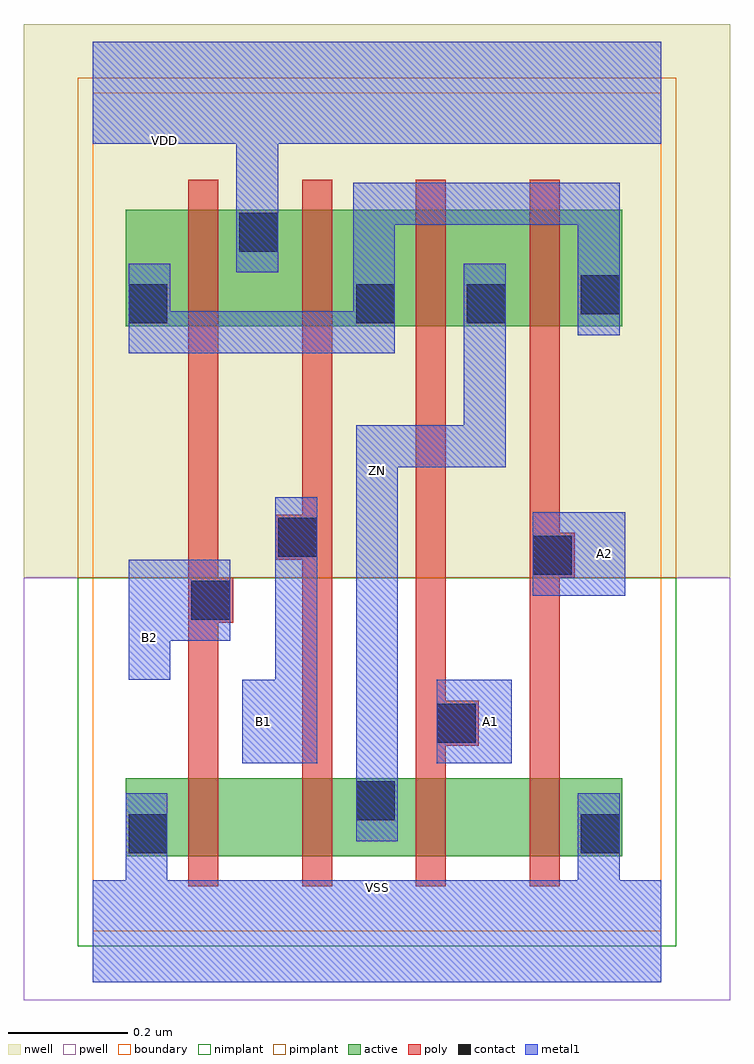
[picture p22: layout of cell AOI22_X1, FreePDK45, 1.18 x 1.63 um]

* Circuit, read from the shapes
.subckt AOI22_X1 A1 A2 B1 B2 VDD VSS ZN
M1 n1 B2 VSS VSUBS nfet w=0.13u l=0.05u
M2 ZN B1 n1 VSUBS nfet w=0.13u l=0.05u
M3 n2 A1 ZN VSUBS nfet w=0.13u l=0.05u
M4 VSS A2 n2 VSUBS nfet w=0.13u l=0.05u
M5 VDD B2 n3 n4 pfet w=0.195u l=0.05u
M6 n3 B1 VDD n4 pfet w=0.195u l=0.05u
M7 ZN A1 n3 n4 pfet w=0.195u l=0.05u
M8 n3 A2 ZN n4 pfet w=0.195u l=0.05u
.ends

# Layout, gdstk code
import gdstk
lib = gdstk.Library(unit=1e-6, precision=1e-10)
def R(c, l, rs):  # rectangles x0, y0, x1, y1
    for r in rs: c.add(gdstk.rectangle(r[:2], r[2:], *l))
def P(c, l, *ps):  # polygons
    for p in ps: c.add(gdstk.Polygon(p, *l))
active = (1, 0)
pwell = (2, 0)
nwell = (3, 0)
nimplant = (4, 0)
pimplant = (5, 0)
poly = (9, 0)
contact = (10, 0)
metal1 = (11, 0)
boundary = (235, 0)

aoi22_x1 = lib.new_cell('AOI22_X1')
R(aoi22_x1, active, [(0.055,0.125,0.885,0.255), (0.055,1.01,0.885,1.205)])
R(aoi22_x1, pwell, [(-0.115,-0.115,1.065,0.59)])
R(aoi22_x1, nwell, [(-0.115,0.59,1.065,1.515)])
R(aoi22_x1, nimplant, [(-0.025,-0.025,0.975,0.59)])
R(aoi22_x1, pimplant, [(-0.025,0.59,0.975,1.425)])
P(aoi22_x1, poly, [(0.16,0.075),(0.21,0.075),(0.21,0.515),(0.235,0.515),(0.235,0.59),(0.21,0.59),(0.21,1.255),(0.16,1.255)],
  [(0.305,0.62),(0.35,0.62),(0.35,0.075),(0.4,0.075),(0.4,1.255),(0.35,1.255),(0.35,0.695),(0.305,0.695)],
  [(0.54,0.075),(0.59,0.075),(0.59,0.31),(0.645,0.31),(0.645,0.385),(0.59,0.385),(0.59,1.255),(0.54,1.255)],
  [(0.73,0.075),(0.78,0.075),(0.78,0.59),(0.805,0.59),(0.805,0.665),(0.78,0.665),(0.78,1.255),(0.73,1.255)])
R(aoi22_x1, contact, [(0.06,0.13,0.125,0.195), (0.815,0.13,0.88,0.195), (0.44,0.185,0.505,0.25), (0.575,0.315,0.64,0.38), (0.165,0.52,0.23,0.585), (0.735,0.595,0.8,0.66), (0.31,0.625,0.375,0.69), (0.06,1.015,0.125,1.08), (0.44,1.015,0.505,1.08), (0.625,1.015,0.69,1.08), (0.815,1.03,0.88,1.095), (0.245,1.135,0.31,1.2)])
R(aoi22_x1, metal1, [(0.575,0.28,0.7,0.42), (0.735,0.56,0.89,0.7)])
P(aoi22_x1, metal1, [(0.06,0.42),(0.13,0.42),(0.13,0.485),(0.23,0.485),(0.23,0.62),(0.06,0.62)],
  [(0.25,0.28),(0.375,0.28),(0.375,0.725),(0.305,0.725),(0.305,0.42),(0.25,0.42)],
  [(0.44,0.15),(0.51,0.15),(0.51,0.775),(0.69,0.775),(0.69,1.115),(0.62,1.115),(0.62,0.845),(0.44,0.845)],
  [(0.06,0.965),(0.505,0.965),(0.505,1.18),(0.81,1.18),(0.81,0.995),(0.88,0.995),(0.88,1.25),(0.435,1.25),(0.435,1.035),(0.13,1.035),(0.13,1.115),(0.06,1.115)],
  [(0,-0.085),(0.95,-0.085),(0.95,0.085),(0.88,0.085),(0.88,0.23),(0.81,0.23),(0.81,0.085),(0.125,0.085),(0.125,0.23),(0.055,0.23),(0.055,0.085),(0,0.085)],
  [(0,1.315),(0.24,1.315),(0.24,1.1),(0.31,1.1),(0.31,1.315),(0.95,1.315),(0.95,1.485),(0,1.485)])
R(aoi22_x1, boundary, [(0,0,0.95,1.4)])
aoi22_x1.add(gdstk.Label('A1', (0.665,0.35), layer=11, texttype=0))
aoi22_x1.add(gdstk.Label('A2', (0.855,0.63), layer=11, texttype=0))
aoi22_x1.add(gdstk.Label('B1', (0.285,0.35), layer=11, texttype=0))
aoi22_x1.add(gdstk.Label('B2', (0.095,0.49), layer=11, texttype=0))
aoi22_x1.add(gdstk.Label('VDD', (0.12,1.32), layer=11, texttype=0))
aoi22_x1.add(gdstk.Label('VSS', (0.475,0.0725), layer=11, texttype=0))
aoi22_x1.add(gdstk.Label('ZN', (0.475,0.77), layer=11, texttype=0))

lib.write_gds('AOI22_X1.gds')
